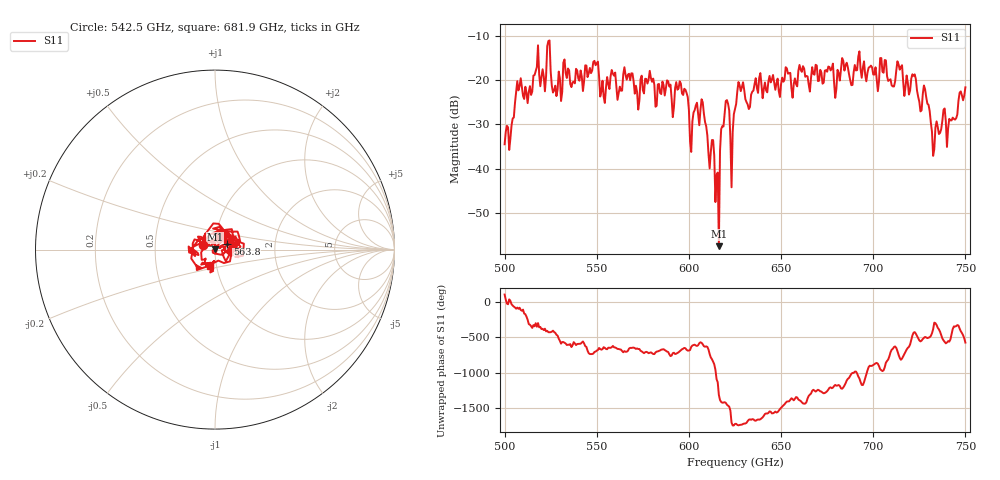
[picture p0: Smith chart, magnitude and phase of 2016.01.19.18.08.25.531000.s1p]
!Created with skrf (http://scikit-rf.org).
# GHz S RI R 50.0
!freq ReS11 ImS11
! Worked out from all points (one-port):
!   401 points, 500 GHz to 750 GHz, reference 50 ohm
!   lowest |S11| = -57.5 dB at 616.2 GHz (marker M1), VSWR 1.00, Z = 49.9 + j0.109 ohm
!   |S11| at or under -10 dB: start of sweep to end of sweep
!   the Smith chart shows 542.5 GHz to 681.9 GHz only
!   S11 on the Smith chart (normalised r, x): 542.5 GHz: 0.87, +0.05; 563.8 GHz: 1.15, +0.07; 681.9 GHz: 0.92, -0.17
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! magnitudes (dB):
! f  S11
! 500 GHz  -34.5
! 507.5 GHz  -22.4
! 513.8 GHz  -21.4
! 516.9 GHz  -18.0
! 531.2 GHz  -22.7
! 542.5 GHz  -22.5
! 549.4 GHz  -16.7
! 553.1 GHz  -20.2
! 558.8 GHz  -18.6
! 562.5 GHz  -21.5
! 563.8 GHz  -22.4
! 593.8 GHz  -22.2
! 601.2 GHz  -36.3
! 607.5 GHz  -25.1
! 615 GHz  -41.5
! 616.2 GHz  -57.5
! 619.4 GHz  -27.6
! 623.8 GHz  -31.7
! 625 GHz  -26.5
! 628.1 GHz  -22.5
! 656.2 GHz  -24.0
! 681.9 GHz  -20.1
! 687.5 GHz  -20.1
! 714.4 GHz  -17.7
! 718.8 GHz  -20.6
! 728.8 GHz  -23.9
! 732.5 GHz  -37.1
! 750 GHz  -21.7
